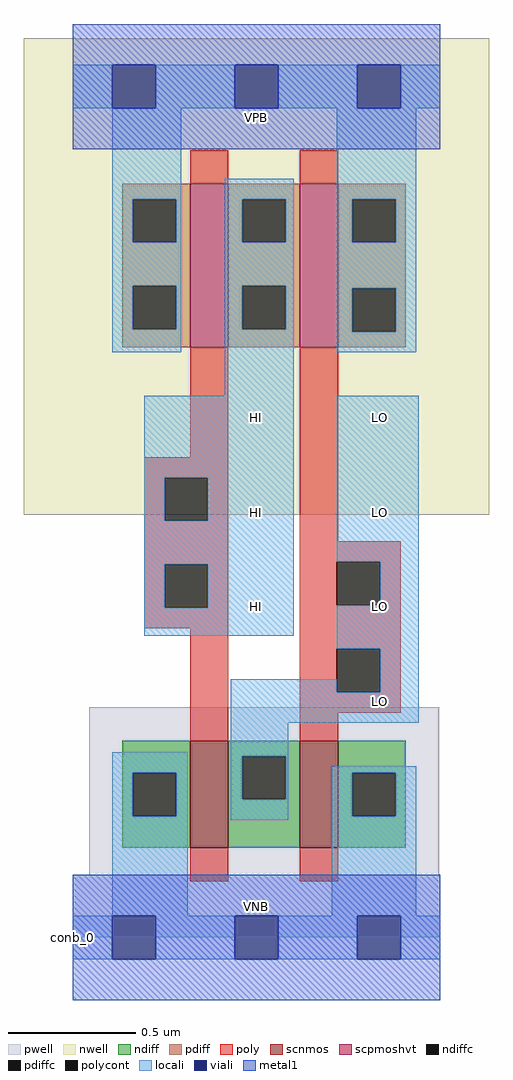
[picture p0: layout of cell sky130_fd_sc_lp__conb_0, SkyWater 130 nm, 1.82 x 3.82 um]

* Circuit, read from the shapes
.subckt sky130_fd_sc_lp__conb_0 VGND VNB VPB VPWR HI LO
XM1 LO HI VGND VNB sky130_fd_pr__nfet_01v8 w=0.42 l=0.15
XM2 VGND LO LO VNB sky130_fd_pr__nfet_01v8 w=0.42 l=0.15
XM3 HI HI VPWR VPB sky130_fd_pr__pfet_01v8_hvt w=0.64 l=0.15
XM4 VPWR LO HI VPB sky130_fd_pr__pfet_01v8_hvt w=0.64 l=0.15
.ends

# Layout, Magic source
magic
tech sky130A
magscale 1 2
<< nwell >>
rect -38 331 326 704
<< pwell >>
rect 13 49 287 180
rect 0 0 288 49
<< scnmos >>
rect 92 70 122 154
rect 178 70 208 154
<< scpmoshvt >>
rect 92 462 122 590
rect 178 462 208 590
<< ndiff >>
rect 39 129 92 154
rect 39 95 47 129
rect 81 95 92 129
rect 39 70 92 95
rect 122 142 178 154
rect 122 108 133 142
rect 167 108 178 142
rect 122 70 178 108
rect 208 129 261 154
rect 208 95 219 129
rect 253 95 261 129
rect 208 70 261 95
<< pdiff >>
rect 39 578 92 590
rect 39 544 47 578
rect 81 544 92 578
rect 39 510 92 544
rect 39 476 47 510
rect 81 476 92 510
rect 39 462 92 476
rect 122 578 178 590
rect 122 544 133 578
rect 167 544 178 578
rect 122 510 178 544
rect 122 476 133 510
rect 167 476 178 510
rect 122 462 178 476
rect 208 578 261 590
rect 208 544 219 578
rect 253 544 261 578
rect 208 508 261 544
rect 208 474 219 508
rect 253 474 261 508
rect 208 462 261 474
<< ndiffc >>
rect 47 95 81 129
rect 133 108 167 142
rect 219 95 253 129
<< pdiffc >>
rect 47 544 81 578
rect 47 476 81 510
rect 133 544 167 578
rect 133 476 167 510
rect 219 544 253 578
rect 219 474 253 508
<< poly >>
rect 92 590 122 616
rect 178 590 208 616
rect 92 376 122 462
rect 56 360 122 376
rect 56 326 72 360
rect 106 326 122 360
rect 56 292 122 326
rect 56 258 72 292
rect 106 258 122 292
rect 56 242 122 258
rect 92 154 122 242
rect 178 310 208 462
rect 178 294 257 310
rect 178 260 207 294
rect 241 260 257 294
rect 178 226 257 260
rect 178 192 207 226
rect 241 192 257 226
rect 178 176 257 192
rect 178 154 208 176
rect 92 44 122 70
rect 178 44 208 70
<< polycont >>
rect 72 326 106 360
rect 72 258 106 292
rect 207 260 241 294
rect 207 192 241 226
<< locali >>
rect 0 649 31 683
rect 65 649 127 683
rect 161 649 223 683
rect 257 649 288 683
rect 31 578 85 649
rect 31 544 47 578
rect 81 544 85 578
rect 31 510 85 544
rect 31 476 47 510
rect 81 476 85 510
rect 31 458 85 476
rect 119 578 173 594
rect 119 544 133 578
rect 167 544 173 578
rect 119 510 173 544
rect 119 476 133 510
rect 167 476 173 510
rect 119 424 173 476
rect 207 578 269 649
rect 207 544 219 578
rect 253 544 269 578
rect 207 508 269 544
rect 207 474 219 508
rect 253 474 269 508
rect 207 458 269 474
rect 56 360 173 424
rect 56 326 72 360
rect 106 326 173 360
rect 56 292 173 326
rect 56 258 72 292
rect 106 258 173 292
rect 56 236 173 258
rect 207 294 271 424
rect 241 260 271 294
rect 207 226 271 260
rect 124 192 207 202
rect 241 192 271 226
rect 124 168 271 192
rect 31 129 90 145
rect 31 95 47 129
rect 81 95 90 129
rect 31 17 90 95
rect 124 142 169 168
rect 124 108 133 142
rect 167 108 169 142
rect 124 92 169 108
rect 203 129 269 134
rect 203 95 219 129
rect 253 95 269 129
rect 203 17 269 95
rect 0 -17 31 17
rect 65 -17 127 17
rect 161 -17 223 17
rect 257 -17 288 17
<< viali >>
rect 31 649 65 683
rect 127 649 161 683
rect 223 649 257 683
rect 31 -17 65 17
rect 127 -17 161 17
rect 223 -17 257 17
<< metal1 >>
rect 0 683 288 715
rect 0 649 31 683
rect 65 649 127 683
rect 161 649 223 683
rect 257 649 288 683
rect 0 617 288 649
rect 0 17 288 49
rect 0 -17 31 17
rect 65 -17 127 17
rect 161 -17 223 17
rect 257 -17 288 17
rect 0 -49 288 -17
<< labels >>
flabel pwell s 0 0 288 49 0 FreeSans 200 0 0 0 VNB
port 2 nsew ground bidirectional
flabel nwell s 0 617 288 666 0 FreeSans 200 0 0 0 VPB
port 3 nsew power bidirectional
rlabel comment s 0 0 0 0 4 conb_0
flabel metal1 s 0 617 288 666 0 FreeSans 340 0 0 0 VPWR
port 4 nsew power bidirectional
flabel metal1 s 0 0 288 49 0 FreeSans 340 0 0 0 VGND
port 1 nsew ground bidirectional
flabel locali s 223 168 257 202 0 FreeSans 340 0 0 0 LO
port 6 nsew signal output
flabel locali s 223 242 257 276 0 FreeSans 340 0 0 0 LO
port 6 nsew signal output
flabel locali s 223 316 257 350 0 FreeSans 340 0 0 0 LO
port 6 nsew signal output
flabel locali s 223 390 257 424 0 FreeSans 340 0 0 0 LO
port 6 nsew signal output
flabel locali s 127 242 161 276 0 FreeSans 340 0 0 0 HI
port 5 nsew signal output
flabel locali s 127 316 161 350 0 FreeSans 340 0 0 0 HI
port 5 nsew signal output
flabel locali s 127 390 161 424 0 FreeSans 340 0 0 0 HI
port 5 nsew signal output
<< properties >>
string LEFsite unit
string LEFclass CORE
string FIXED_BBOX 0 0 288 666
string GDS_FILE $PDKPATH/libs.ref/sky130_fd_sc_lp/gds/sky130_fd_sc_lp.gds
string LEFsymmetry X Y R90
string GDS_END 448772
string GDS_START 444694
<< end >>
